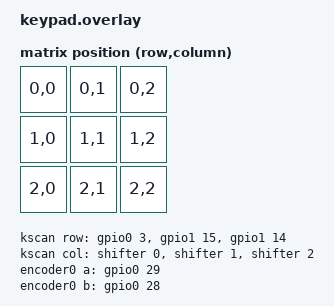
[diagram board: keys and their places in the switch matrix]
#include <dt-bindings/zmk/matrix_transform.h>
#include "keypad-layouts.dtsi"
#include <dt-bindings/led/led.h>

/ {
    chosen {
        zmk,physical-layout = &physical_layout0;
        zmk,underglow = &led_strip;
    };

    physical_layout0: physical_layout_0 {
        compatible = "zmk,physical-layout";
        display-name = "Default Layout";
        kscan = <&kscan>; 
        transform = <&default_transform>; 
    };

    kscan: kscan {
        compatible = "zmk,kscan-gpio-matrix";
        diode-direction = "col2row";
        wakeup-source;

        col-gpios
            = <&shifter 0 GPIO_ACTIVE_HIGH>
            , <&shifter 1 GPIO_ACTIVE_HIGH>
            , <&shifter 2 GPIO_ACTIVE_HIGH>
        ;

        row-gpios
            = <&gpio0 3 (GPIO_ACTIVE_HIGH | GPIO_PULL_DOWN)>
            , <&gpio1 15 (GPIO_ACTIVE_HIGH | GPIO_PULL_DOWN)>
            , <&gpio1 14 (GPIO_ACTIVE_HIGH | GPIO_PULL_DOWN)>
        ;
    };

    default_transform: default_transform {
        compatible = "zmk,matrix-transform";
        columns = <3>;
        rows = <3>;

        map = <
            RC(0, 0) RC(0, 1) RC(0,2)
            RC(1, 0) RC(1, 1) RC(1,2)
            RC(2, 0) RC(2, 1) RC(2,2)
        >;
    };

    encoder0: encoder {
        compatible = "alps,ec11";
        a-gpios = <&gpio0 29 (GPIO_ACTIVE_HIGH | GPIO_PULL_UP)>;
        b-gpios = <&gpio0 28 (GPIO_ACTIVE_HIGH | GPIO_PULL_UP)>;
        steps = <30>;
        status = "okay";
    };

    sensors: sensors {
        compatible = "zmk,keymap-sensors";
        sensors = <&encoder0>;
        triggers-per-rotation = <15>;
    };
};

&pinctrl {
    spi2_default: spi2_default {
        group1 {
            psels = <NRF_PSEL(SPIM_MOSI, 0, 4)>,
                    <NRF_PSEL(SPIM_SCK, 0, 8)>;
        };
    };

    spi2_sleep: spi2_sleep {
        group1 {
            psels = <NRF_PSEL(SPIM_MOSI, 0, 4)>,
                    <NRF_PSEL(SPIM_SCK, 0, 8)>;
            low-power-enable;
        };
    };

    spi3_default: spi3_default {
        group1 {
            psels = <NRF_PSEL(SPIM_MOSI, 0, 5)>,
                    <NRF_PSEL(SPIM_SCK, 1, 11)>;
        };
    };

    spi3_sleep: spi3_sleep {
        group1 {
            psels = <NRF_PSEL(SPIM_MOSI, 0, 6)>,
                    <NRF_PSEL(SPIM_SCK, 1, 11)>;
            low-power-enable;
        };
    };
};

&spi3 {
    compatible = "nordic,nrf-spim";
    status = "okay";
    cs-gpios = <&gpio1 13 GPIO_ACTIVE_LOW>, <&gpio1 12 GPIO_ACTIVE_LOW>;
        
    pinctrl-0 = <&spi3_default>;
    pinctrl-1 = <&spi3_sleep>;
    pinctrl-names = "default", "sleep";

    max-frequency = <32000000>;
    clock-frequency = <32000000>;

    shifter: 595@0 {
        compatible = "zmk,gpio-595";
        status = "okay";
        gpio-controller;
        spi-max-frequency = <32000000>;
        reg = <0>;
        #gpio-cells = <2>;
        ngpios = <8>;
    };
};

&spi2 {
    compatible = "nordic,nrf-spim";
    status = "okay";

    pinctrl-0 = <&spi2_default>;
    pinctrl-1 = <&spi2_sleep>;
    pinctrl-names = "default", "sleep";

    led_strip: ws2812@0 {
        compatible = "worldsemi,ws2812-spi";

        /* SPI */
        reg = <0>; /* ignored, but necessary for SPI bindings */
        spi-max-frequency = <4000000>;

        /* WS2812 */
        chain-length = <9>; /* number of LEDs */
        spi-one-frame = <0x70>;
        spi-zero-frame = <0x40>;
        color-mapping = <LED_COLOR_ID_GREEN
                         LED_COLOR_ID_RED
                         LED_COLOR_ID_BLUE>;
    };
};

zephyr_udc0: &usbd {
    compatible = "nordic,nrf-usbd";
    status = "okay";
};
